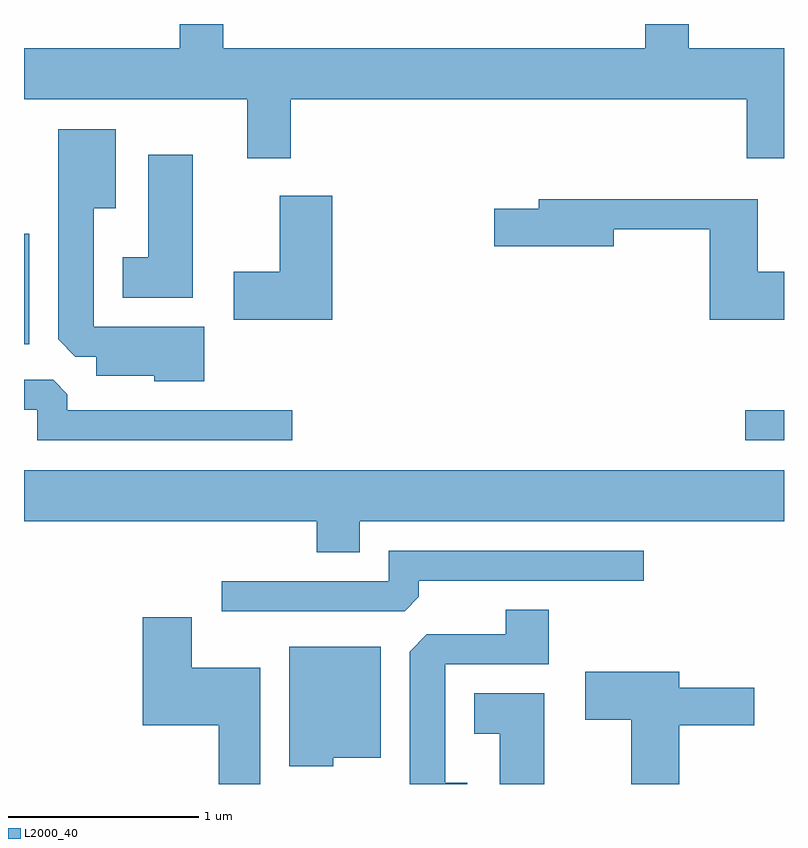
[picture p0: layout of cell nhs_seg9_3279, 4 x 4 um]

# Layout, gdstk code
import gdstk
lib = gdstk.Library(unit=1e-6, precision=1e-09)
def R(c, l, rs):  # rectangles x0, y0, x1, y1
    for r in rs: c.add(gdstk.rectangle(r[:2], r[2:], *l))
def P(c, l, *ps):  # polygons
    for p in ps: c.add(gdstk.Polygon(p, *l))
L2000_40 = (2000, 40)

nhs_seg9_3279 = lib.new_cell('nhs_seg9_3279')
R(nhs_seg9_3279, L2000_40, [(285.408,1992.241,285.611,1992.399), (281.611,1992.746,281.639,1993.329)])
P(nhs_seg9_3279, L2000_40, [(283.014,1994.036),(285.416,1994.036),(285.416,1993.726),(285.611,1993.726),(285.611,1994.304),(285.109,1994.304),(285.109,1994.432),(284.881,1994.432),(284.881,1994.304),(282.659,1994.304),(282.659,1994.432),(282.431,1994.432),(282.431,1994.304),(281.611,1994.304),(281.611,1994.036),(282.786,1994.036),(282.786,1993.726),(283.014,1993.726)],
  [(282.559,1992.839),(281.979,1992.839),(281.979,1993.461),(282.094,1993.461),(282.094,1993.879),(281.791,1993.879),(281.791,1992.772),(281.882,1992.681),(281.991,1992.681),(281.991,1992.581),(282.296,1992.581),(282.296,1992.551),(282.559,1992.551)],
  [(282.499,1993.744),(282.266,1993.744),(282.266,1993.204),(282.131,1993.204),(282.131,1992.991),(282.499,1992.991)],
  [(283.234,1993.529),(282.956,1993.529),(282.956,1993.129),(282.716,1993.129),(282.716,1992.876),(283.234,1992.876)],
  [(285.611,1993.129),(285.474,1993.129),(285.474,1993.509),(284.321,1993.509),(284.321,1993.459),(284.086,1993.459),(284.086,1993.261),(284.714,1993.261),(284.714,1993.351),(285.221,1993.351),(285.221,1992.876),(285.611,1992.876)],
  [(283.023,1992.399),(281.839,1992.399),(281.839,1992.484),(281.764,1992.559),(281.611,1992.559),(281.611,1992.401),(281.681,1992.401),(281.681,1992.241),(283.023,1992.241)],
  [(283.379,1991.816),(285.611,1991.816),(285.611,1992.084),(281.611,1992.084),(281.611,1991.816),(283.151,1991.816),(283.151,1991.651),(283.379,1991.651)],
  [(283.689,1991.417),(283.689,1991.501),(284.873,1991.501),(284.873,1991.659),(283.531,1991.659),(283.531,1991.499),(282.653,1991.499),(282.653,1991.341),(283.614,1991.341)],
  [(283.944,1990.439),(283.829,1990.439),(283.829,1991.061),(284.374,1991.061),(284.374,1991.349),(284.146,1991.349),(284.146,1991.219),(283.732,1991.219),(283.641,1991.129),(283.641,1990.432),(283.944,1990.432)],
  [(282.854,1991.044),(282.494,1991.044),(282.494,1991.309),(282.236,1991.309),(282.236,1990.741),(282.636,1990.741),(282.636,1990.432),(282.854,1990.432)],
  [(283.239,1990.571),(283.489,1990.571),(283.489,1991.154),(283.006,1991.154),(283.006,1990.526),(283.239,1990.526)],
  [(285.059,1990.741),(285.454,1990.741),(285.454,1990.939),(285.059,1990.939),(285.059,1991.024),(284.566,1991.024),(284.566,1990.771),(284.806,1990.771),(284.806,1990.432),(285.059,1990.432)],
  [(284.349,1990.909),(283.981,1990.909),(283.981,1990.696),(284.116,1990.696),(284.116,1990.432),(284.349,1990.432)])

lib.write_gds('nhs_seg9_3279.gds')
